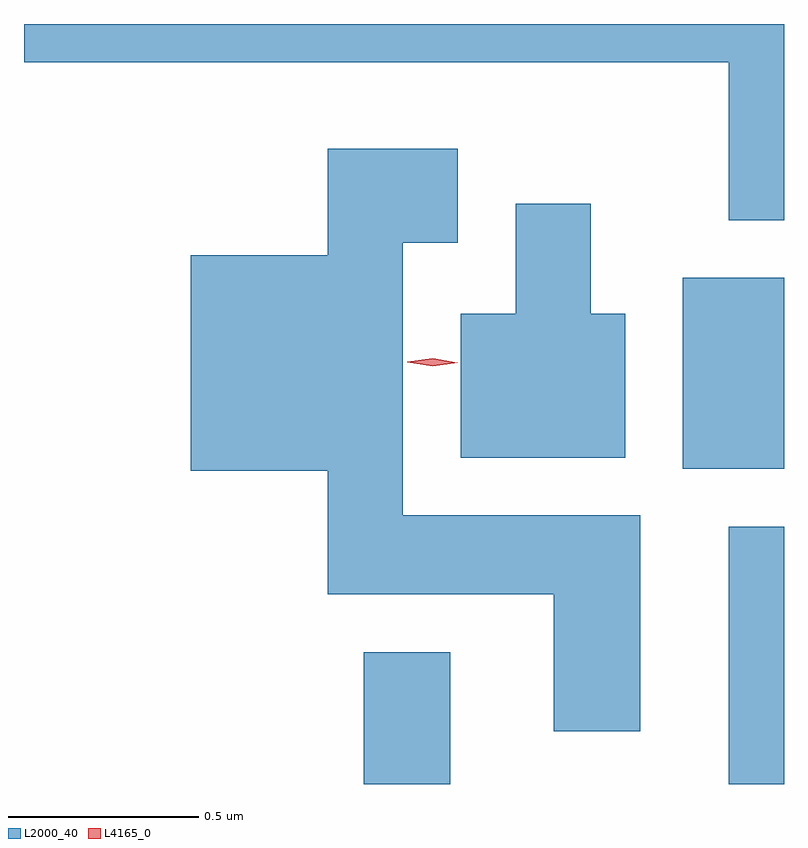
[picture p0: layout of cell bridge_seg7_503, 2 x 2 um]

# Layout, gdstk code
import gdstk
lib = gdstk.Library(unit=1e-6, precision=1e-09)
def R(c, l, rs):  # rectangles x0, y0, x1, y1
    for r in rs: c.add(gdstk.rectangle(r[:2], r[2:], *l))
def P(c, l, *ps):  # polygons
    for p in ps: c.add(gdstk.Polygon(p, *l))
L2000_40 = (2000, 40)
L4165_0 = (4165, 0)

bridge_seg7_503 = lib.new_cell('bridge_seg7_503')
R(bridge_seg7_503, L2000_40, [(1258.051,1696.877,1258.279,1697.224), (1259.011,1696.877,1259.157,1697.554), (1258.891,1697.706,1259.157,1698.209)])
P(bridge_seg7_503, L2000_40, [(1259.157,1698.877),(1257.157,1698.877),(1257.157,1698.776),(1259.011,1698.776),(1259.011,1698.361),(1259.157,1698.361)],
  [(1258.779,1697.584),(1258.154,1697.584),(1258.154,1698.301),(1258.299,1698.301),(1258.299,1698.549),(1257.956,1698.549),(1257.956,1698.269),(1257.596,1698.269),(1257.596,1697.701),(1257.956,1697.701),(1257.956,1697.376),(1258.551,1697.376),(1258.551,1697.016),(1258.779,1697.016)],
  [(1258.739,1698.114),(1258.649,1698.114),(1258.649,1698.404),(1258.451,1698.404),(1258.451,1698.114),(1258.306,1698.114),(1258.306,1697.736),(1258.739,1697.736)])
P(bridge_seg7_503, L4165_0, [(1258.232,1697.977),(1258.166,1697.987),(1258.166,1697.988),(1258.166,1697.988),(1258.232,1697.997),(1258.298,1697.986),(1258.298,1697.986),(1258.298,1697.985)])

lib.write_gds('bridge_seg7_503.gds')
